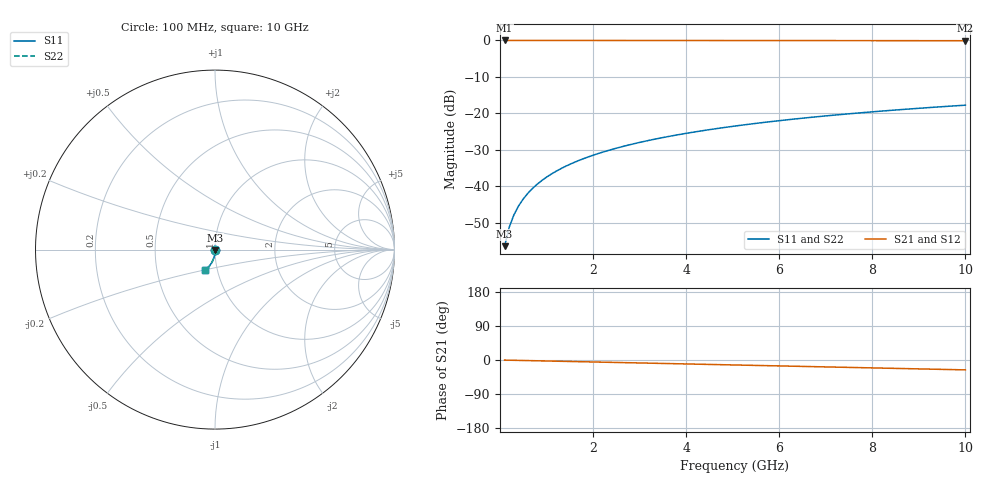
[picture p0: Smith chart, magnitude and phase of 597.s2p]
# Hz S RI R 50.00
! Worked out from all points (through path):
!   100 points, 100 MHz to 10 GHz, reference 50 ohm
!   highest |S21| = -0.01 dB at 100 MHz (marker M1); lowest = -0.1 dB at 10 GHz (marker M2)
!   group delay of S21, straight-line fit = 7.25 ps
!   lowest |S11| = -56.5 dB at 100 MHz (marker M3), VSWR 1.00, Z = 50.1 - j0.133 ohm
!   |S11| at or under -10 dB: start of sweep to end of sweep
!   |S22| runs from -56.5 to -17.8 dB; largest |S21 - S12| = 0
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1e8  0.000701 -0.00133  0.9993 -0.00452  0.9993 -0.00452  0.000701 -0.00133
2e8  0.000684 -0.00266  0.9992 -0.00904  0.9992 -0.00904  0.000684 -0.00266
3e8  0.000655 -0.00399  0.9992 -0.0136  0.9992 -0.0136  0.000655 -0.00399
4e8  0.000613 -0.00533  0.9991 -0.0181  0.9991 -0.0181  0.000613 -0.00533
5e8  0.000559 -0.00666  0.999 -0.0226  0.999 -0.0226  0.000559 -0.00666
6e8  0.000492 -0.00799  0.9989 -0.0271  0.9989 -0.0271  0.000492 -0.00799
7e8  0.000413 -0.00932  0.9987 -0.0316  0.9987 -0.0316  0.000413 -0.00932
8e8  0.000322 -0.0106  0.9985 -0.0361  0.9985 -0.0361  0.000322 -0.0106
9e8  0.000218 -0.012  0.9983 -0.0407  0.9983 -0.0407  0.000218 -0.012
1.1e9  -2.48e-05 -0.0146  0.9979 -0.0497  0.9979 -0.0497  -2.48e-05 -0.0146
1.4e9  -0.00048 -0.0186  0.997 -0.0632  0.997 -0.0632  -0.00048 -0.0186
1.8e9  -0.00126 -0.0239  0.9956 -0.0813  0.9956 -0.0813  -0.00126 -0.0239
2.1e9  -0.00196 -0.0278  0.9943 -0.0948  0.9943 -0.0948  -0.00196 -0.0278
2.5e9  -0.00308 -0.0331  0.9922 -0.1128  0.9922 -0.1128  -0.00308 -0.0331
2.9e9  -0.00438 -0.0383  0.9898 -0.1308  0.9898 -0.1308  -0.00438 -0.0383
3.4e9  -0.00627 -0.0447  0.9863 -0.1532  0.9863 -0.1532  -0.00627 -0.0447
4.2e9  -0.00991 -0.0548  0.9795 -0.1888  0.9795 -0.1888  -0.00991 -0.0548
5.1e9  -0.0149 -0.0659  0.9702 -0.2286  0.9702 -0.2286  -0.0149 -0.0659
5.9e9  -0.02 -0.0754  0.9605 -0.2636  0.9605 -0.2636  -0.02 -0.0754
6.7e9  -0.0259 -0.0844  0.9494 -0.2983  0.9494 -0.2983  -0.0259 -0.0844
8.4e9  -0.0404 -0.1021  0.9213 -0.3702  0.9213 -0.3702  -0.0404 -0.1021
1e10  -0.0564 -0.1164  0.8896 -0.4354  0.8896 -0.4354  -0.0564 -0.1164
